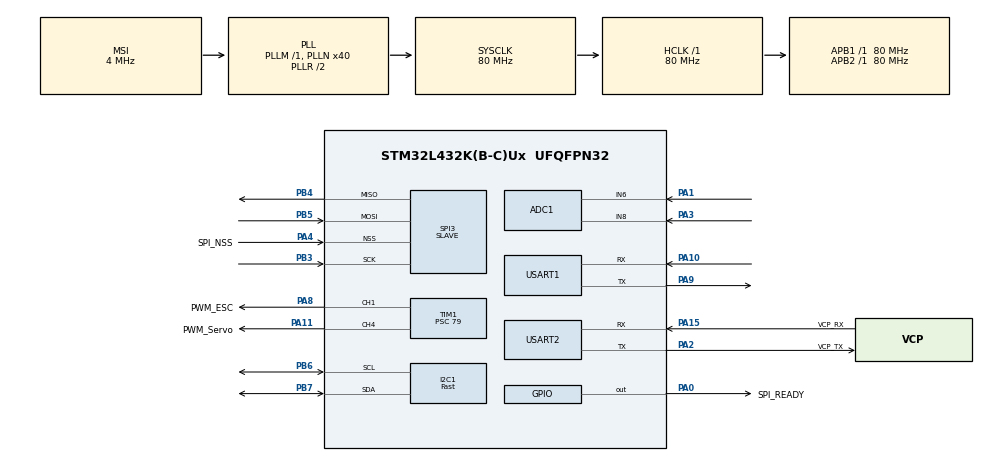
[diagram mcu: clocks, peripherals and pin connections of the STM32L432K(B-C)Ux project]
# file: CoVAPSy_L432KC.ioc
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ADC1.Channel-5\#ChannelRegularConversion=ADC_CHANNEL_8
ADC1.Channel-6\#ChannelRegularConversion=ADC_CHANNEL_6
ADC1.ClockPrescaler=ADC_CLOCK_ASYNC_DIV4
ADC1.ContinuousConvMode=ENABLE
ADC1.DMAContinuousRequests=ENABLE
ADC1.EOCSelection=ADC_EOC_SEQ_CONV
ADC1.NbrOfConversion=2
ADC1.NbrOfConversionFlag=1
ADC1.OffsetNumber-5\#ChannelRegularConversion=ADC_OFFSET_NONE
ADC1.OffsetNumber-6\#ChannelRegularConversion=ADC_OFFSET_NONE
ADC1.Overrun=ADC_OVR_DATA_OVERWRITTEN
ADC1.Rank-5\#ChannelRegularConversion=1
ADC1.Rank-6\#ChannelRegularConversion=2
ADC1.SamplingTime-5\#ChannelRegularConversion=ADC_SAMPLETIME_47CYCLES_5
ADC1.SamplingTime-6\#ChannelRegularConversion=ADC_SAMPLETIME_47CYCLES_5
ADC1.master=1
Dma.ADC1.0.Direction=DMA_PERIPH_TO_MEMORY
Dma.ADC1.0.Instance=DMA1_Channel1
Dma.ADC1.0.MemDataAlignment=DMA_MDATAALIGN_HALFWORD
Dma.ADC1.0.MemInc=DMA_MINC_ENABLE
Dma.ADC1.0.Mode=DMA_CIRCULAR
Dma.ADC1.0.PeriphDataAlignment=DMA_PDATAALIGN_HALFWORD
Dma.ADC1.0.PeriphInc=DMA_PINC_DISABLE
Dma.ADC1.0.Priority=DMA_PRIORITY_MEDIUM
Dma.Request0=ADC1
Dma.Request1=SPI3_RX
Dma.Request2=SPI3_TX
Dma.SPI3_RX.1.Direction=DMA_PERIPH_TO_MEMORY
Dma.SPI3_RX.1.Instance=DMA2_Channel1
Dma.SPI3_RX.1.MemDataAlignment=DMA_MDATAALIGN_BYTE
Dma.SPI3_RX.1.MemInc=DMA_MINC_ENABLE
Dma.SPI3_RX.1.Mode=DMA_NORMAL
Dma.SPI3_RX.1.PeriphDataAlignment=DMA_PDATAALIGN_BYTE
Dma.SPI3_RX.1.PeriphInc=DMA_PINC_DISABLE
Dma.SPI3_RX.1.Priority=DMA_PRIORITY_HIGH
Dma.SPI3_TX.2.Direction=DMA_MEMORY_TO_PERIPH
Dma.SPI3_TX.2.Instance=DMA2_Channel2
Dma.SPI3_TX.2.MemDataAlignment=DMA_MDATAALIGN_BYTE
Dma.SPI3_TX.2.MemInc=DMA_MINC_ENABLE
Dma.SPI3_TX.2.Mode=DMA_NORMAL
Dma.SPI3_TX.2.PeriphDataAlignment=DMA_PDATAALIGN_BYTE
Dma.SPI3_TX.2.PeriphInc=DMA_PINC_DISABLE
Dma.SPI3_TX.2.Priority=DMA_PRIORITY_HIGH
FREERTOS.Tasks01=defaultTask,24,128,StartDefaultTask,Default,NULL,Dynamic,NULL,NULL;ControlTask,43,512,StartControlTask,Default,NULL,Dynamic,NULL,NULL;DebugTask,9,256,StartDebugTask,Default,NULL,Dynamic,NULL,NULL;SPICommTask,42,512,StartSPICommTask,Default,NULL,Dynamic,NULL,NULL
FREERTOS.configTOTAL_HEAP_SIZE=15360
FREERTOS.configUSE_NEWLIB_REENTRANT=1
I2C1.I2C_Speed_Mode=I2C_Fast
I2C1.Timing=0x00F12981
Mcu.Family=STM32L4
Mcu.Name=STM32L432K(B-C)Ux
Mcu.Package=UFQFPN32
NVIC.ADC1_IRQn=true\:5\:0\:false\:false\:true\:true\:true\:true\:true
NVIC.DMA1_Channel1_IRQn=true\:5\:0\:false\:false\:true\:true\:false\:true\:true
NVIC.DMA2_Channel1_IRQn=true\:5\:0\:false\:false\:true\:true\:false\:true\:true
NVIC.DMA2_Channel2_IRQn=true\:5\:0\:false\:false\:true\:true\:false\:true\:true
NVIC.EXTI4_IRQn=true\:5\:0\:false\:false\:true\:true\:true\:true\:true
NVIC.PriorityGroup=NVIC_PRIORITYGROUP_4
NVIC.TIM6_DAC_IRQn=true\:15\:0\:false\:false\:true\:false\:false\:true\:true
NVIC.TimeBase=TIM6_DAC_IRQn
NVIC.TimeBaseIP=TIM6
NVIC.USART1_IRQn=true\:5\:0\:false\:false\:true\:true\:true\:true\:true
PA0.GPIO_Label=SPI_READY
PA0.Signal=GPIO_Output
PA1.Signal=ADCx_IN6
PA10.Mode=Asynchronous
PA10.Signal=USART1_RX
PA11.GPIO_Label=PWM_Servo
PA11.Signal=S_TIM1_CH4
PA13\ (JTMS-SWDIO).GPIO_Label=SWDIO
PA13\ (JTMS-SWDIO).Signal=SYS_JTMS-SWDIO
PA14\ (JTCK-SWCLK).GPIO_Label=SWCLK
PA14\ (JTCK-SWCLK).Signal=SYS_JTCK-SWCLK
PA15\ (JTDI).GPIO_Label=VCP_RX
PA15\ (JTDI).Mode=Asynchronous
PA15\ (JTDI).Signal=USART2_RX
PA2.GPIO_Label=VCP_TX
PA2.Mode=Asynchronous
PA2.Signal=USART2_TX
PA3.Signal=ADCx_IN8
PA4.GPIO_Label=SPI_NSS
PA4.Mode=NSS_Signal_Hard_Input
PA4.Signal=SPI3_NSS
PA8.GPIO_Label=PWM_ESC
PA8.Signal=S_TIM1_CH1
PA9.Mode=Asynchronous
PA9.Signal=USART1_TX
PB3\ (JTDO-TRACESWO).Mode=Full_Duplex_Slave
PB3\ (JTDO-TRACESWO).Signal=SPI3_SCK
PB4\ (NJTRST).Mode=Full_Duplex_Slave
PB4\ (NJTRST).Signal=SPI3_MISO
PB5.Mode=Full_Duplex_Slave
PB5.Signal=SPI3_MOSI
PB6.Mode=I2C
PB6.Signal=I2C1_SCL
PB7.Mode=I2C
PB7.Signal=I2C1_SDA
PC14-OSC32_IN\ (PC14).Signal=RCC_OSC32_IN
PC15-OSC32_OUT\ (PC15).Signal=RCC_OSC32_OUT
ProjectManager.HeapSize=0x200
ProjectManager.StackSize=0x400
ProjectManager.TargetToolchain=STM32CubeIDE
RCC.ADCFreq_Value=32000000
RCC.AHBFreq_Value=80000000
RCC.APB1Freq_Value=80000000
RCC.APB1TimFreq_Value=80000000
RCC.APB2Freq_Value=80000000
RCC.APB2TimFreq_Value=80000000
RCC.CortexFreq_Value=80000000
RCC.HCLKFreq_Value=80000000
RCC.HSE_VALUE=8000000
RCC.HSI16_VALUE=16000000
RCC.HSI48_VALUE=48000000
RCC.HSI_VALUE=16000000
RCC.LSE_VALUE=32768
RCC.MSI_VALUE=4000000
RCC.PLLMUL=RCC_PLLMUL_4
RCC.PLLN=40
RCC.PLLSAI1N=16
RCC.SYSCLKFreq_VALUE=80000000
RCC.SYSCLKSource=RCC_SYSCLKSOURCE_PLLCLK
RCC.USBFreq_Value=32000000
RCC.VCOOutputFreq_Value=160000000
SH.ADCx_IN6.0=ADC1_IN6,IN6-Single-Ended
SH.ADCx_IN8.0=ADC1_IN8,IN8-Single-Ended
SH.S_TIM1_CH1.0=TIM1_CH1,PWM Generation1 CH1
SH.S_TIM1_CH4.0=TIM1_CH4,PWM Generation4 CH4
SPI3.DataSize=SPI_DATASIZE_8BIT
SPI3.Direction=SPI_DIRECTION_2LINES
SPI3.Mode=SPI_MODE_SLAVE
SPI3.VirtualNSS=VM_NSSHARD
SPI3.VirtualType=VM_SLAVE
TIM1.AutoReloadPreload=TIM_AUTORELOAD_PRELOAD_ENABLE
TIM1.Channel-PWM\ Generation1\ CH1=TIM_CHANNEL_1
TIM1.Channel-PWM\ Generation4\ CH4=TIM_CHANNEL_4
TIM1.Period=19999
TIM1.Prescaler=79
TIM1.Pulse-PWM\ Generation1\ CH1=1500
TIM1.Pulse-PWM\ Generation4\ CH4=1500
USART1.VirtualMode-Asynchronous=VM_ASYNC
USART2.VirtualMode-Asynchronous=VM_ASYNC
VP_FREERTOS_VS_CMSIS_V2.Mode=CMSIS_V2
VP_SYS_VS_tim6.Mode=TIM6
board=NUCLEO-L432KC

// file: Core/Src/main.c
/* USER CODE BEGIN Header */
/**
  ******************************************************************************
  * @file           : main.c
  * @brief          : Main program body
  ******************************************************************************
  * @attention
  *
  * Copyright (c) 2025 STMicroelectronics.
  * All rights reserved.
  *
  * This software is licensed under terms that can be found in the LICENSE file
  * in the root directory of this software component.
  * If no LICENSE file comes with this software, it is provided AS-IS.
  *
  ******************************************************************************
  */
/* USER CODE END Header */
#include "main.h"
#include "cmsis_os.h"

/* USER CODE BEGIN Includes */
#include <string.h>
#include <stdio.h>
#include "config.h"
#include "mma8451.h"
#include "sharp_sensor.h"
#include "bno055.h"
#include "servo.h"
#include "esc.h"
#include "vehicle_state.h"
#include "spi_comm.h"
#include "cmsis_os.h"
#include "task.h"
/* USER CODE END Includes */

ADC_HandleTypeDef hadc1;
DMA_HandleTypeDef hdma_adc1;

I2C_HandleTypeDef hi2c1;

SPI_HandleTypeDef hspi3;
DMA_HandleTypeDef hdma_spi3_rx;
DMA_HandleTypeDef hdma_spi3_tx;

TIM_HandleTypeDef htim1;

UART_HandleTypeDef huart1;
UART_HandleTypeDef huart2;

/* Definitions for defaultTask */
osThreadId_t defaultTaskHandle;
const osThreadAttr_t defaultTask_attributes = {
  .name = "defaultTask",
  .stack_size = 128 * 4,
  .priority = (osPriority_t) osPriorityNormal,
};
/* Definitions for ControlTask */
osThreadId_t ControlTaskHandle;
const osThreadAttr_t ControlTask_attributes = {
  .name = "ControlTask",
  .stack_size = 512 * 4,
  .priority = (osPriority_t) osPriorityHigh3,
};
/* Definitions for DebugTask */
osThreadId_t DebugTaskHandle;
const osThreadAttr_t DebugTask_attributes = {
  .name = "DebugTask",
  .stack_size = 256 * 4,
  .priority = (osPriority_t) osPriorityLow1,
};
/* Definitions for SPICommTask */
osThreadId_t SPICommTaskHandle;
const osThreadAttr_t SPICommTask_attributes = {
  .name = "SPICommTask",
  .stack_size = 512 * 4,
  .priority = (osPriority_t) osPriorityHigh2,
};
/* USER CODE BEGIN PV */
Vehicle_State g_vehicle;
SPI_Comm_State g_spi_comm;
static uint16_t g_sharp_dma_buf[2];
/* USER CODE END PV */

void SystemClock_Config(void);
static void MX_GPIO_Init(void);
static void MX_DMA_Init(void);
static void MX_TIM1_Init(void);
static void MX_USART1_UART_Init(void);
static void MX_ADC1_Init(void);
static void MX_I2C1_Init(void);
static void MX_USART2_UART_Init(void);
static void MX_SPI3_Init(void);
void StartDefaultTask(void *argument);
void StartControlTask(void *argument);
void StartDebugTask(void *argument);
void StartSPICommTask(void *argument);

int main(void)
{

  /* MCU Configuration--------------------------------------------------------*/

  /* Reset of all peripherals, Initializes the Flash interface and the Systick. */
  HAL_Init();

  /* Configure the system clock */
  SystemClock_Config();

  /* Initialize all configured peripherals */
  MX_GPIO_Init();
  MX_DMA_Init();
  MX_TIM1_Init();
  MX_USART1_UART_Init();
  MX_ADC1_Init();
  MX_I2C1_Init();
  MX_USART2_UART_Init();
  MX_SPI3_Init();
  /* USER CODE BEGIN 2 */
#if defined(MMA8451_ENABLE) && defined(MMA8451_TEST_ENABLE) && MMA8451_ENABLE && MMA8451_TEST_ENABLE
  // Start MMA8451 accelerometer test program
  MMA8451_Test(&hi2c1, &huart2, LD3_GPIO_Port, LD3_Pin);
#endif

#if defined(SHARP_SENSOR_ENABLE) && defined(SHARP_TEST_ENABLE) && SHARP_SENSOR_ENABLE && SHARP_TEST_ENABLE
  // Start SHARP distance sensor test program
  Sharp_Test(&hadc1, &huart2);
#endif

#if defined(BNO055_ENABLE) && defined(BNO055_TEST_ENABLE) && BNO055_ENABLE && BNO055_TEST_ENABLE
  // Start BNO055 IMU test program
  BNO055_Test(&hi2c1, &huart2);
#endif

#if defined(SERVO_ENABLE) && defined(SERVO_TEST_ENABLE) && SERVO_ENABLE && SERVO_TEST_ENABLE
  // Start Servo test program
  Servo_Test(&htim1, &huart2);
#endif

#if defined(ESC_ENABLE) && defined(ESC_TEST_ENABLE) && ESC_ENABLE && ESC_TEST_ENABLE
  // Start ESC test program
  ESC_Test(&htim1, &huart2);
#endif

#if defined(SPI_COMM_ENABLE) && defined(SPI_COMM_TEST_ENABLE) && SPI_COMM_ENABLE && SPI_COMM_TEST_ENABLE
  // Start SPI communication test program (Phase 2 UART simulation mode, protocol-only)
  SPI_Comm_Test(&hspi3, &huart2);
#endif

#if defined(SPI_COMM_ENABLE) && defined(SPI_VEHICLE_TEST_ENABLE) && SPI_COMM_ENABLE && SPI_VEHICLE_TEST_ENABLE
  // Start SPI + Vehicle integration test (UART commands control real vehicle)
  // This simulates Raspberry Pi SPI commands via UART
  SPI_Vehicle_IntegrationTest(&htim1, &hi2c1, &hadc1, &huart2);
#endif

#if defined(VEHICLE_ENABLE) && defined(VEHICLE_TEST_ENABLE) && VEHICLE_ENABLE && VEHICLE_TEST_ENABLE
  // Start Vehicle test program (Phase 1 whole vehicle testing)
  Vehicle_Test(&htim1, &hi2c1, &hadc1, &huart2);
#endif

#if defined(SPI_COMM_ENABLE) && defined(SPI_HARDWARE_DEBUG_ENABLE) && SPI_COMM_ENABLE && SPI_HARDWARE_DEBUG_ENABLE
  // SPI Hardware Debug Mode: Real SPI communication with UART debug output
  // Connects to Raspberry Pi via SPI3, prints received commands to UART
  SPI_Hardware_Debug(&hspi3, &htim1, &hi2c1, &hadc1, &huart2);
#endif

#if defined(SPI_COMM_ENABLE) && defined(SPI_PRODUCTION_ENABLE) && SPI_COMM_ENABLE && SPI_PRODUCTION_ENABLE
  // SPI Production Mode: Real SPI communication, NO debug output
  // Use this for final deployment with Raspberry Pi
  SPI_Production(&hspi3, &htim1, &hi2c1, &hadc1);
#endif

  // === FreeRTOS 模式初始化 ===
  // 1. 绑定硬件句柄
  g_vehicle.htim_servo_esc      = &htim1;
  g_vehicle.hi2c_imu            = &hi2c1;
  g_vehicle.hadc_sharp          = &hadc1;
  g_vehicle.huart_debug         = &huart2;
  g_vehicle.sharp_dma_buffer      = g_sharp_dma_buf;
  g_vehicle.sharp_dma_buffer_size = 2;

  // 2. 初始化车辆（舵机、电调、BNO055、SHARP）
  Vehicle_Init(&g_vehicle);

  // 3. 绑定 SPI 通信句柄
  g_spi_comm.hspi        = &hspi3;
  g_spi_comm.huart_debug = &huart2;
  g_spi_comm.vehicle     = &g_vehicle;

  // 4. 初始化 SPI 通信模块
  if (SPI_Comm_Init(&g_spi_comm) != HAL_OK)
  {
    Error_Handler();
  }

  // 5. 电调解锁（发送 2 秒中性脉冲，必须在调度器启动前完成）
  ESC_Arm(&htim1, &g_vehicle.esc_data, &huart2);

  // 6. 设置为远程控制模式
  Vehicle_SetMode(&g_vehicle, VEHICLE_MODE_REMOTE);

  /* USER CODE END 2 */

  /* Init scheduler */
  osKernelInitialize();

  /* Create the thread(s) */
  /* creation of defaultTask */
  defaultTaskHandle = osThreadNew(StartDefaultTask, NULL, &defaultTask_attributes);

  /* creation of ControlTask */
  ControlTaskHandle = osThreadNew(StartControlTask, NULL, &ControlTask_attributes);

  /* creation of DebugTask */
  DebugTaskHandle = osThreadNew(StartDebugTask, NULL, &DebugTask_attributes);

  /* creation of SPICommTask */
  SPICommTaskHandle = osThreadNew(StartSPICommTask, NULL, &SPICommTask_attributes);

  /* Start scheduler */
  osKernelStart();

  /* We should never get here as control is now taken by the scheduler */

  /* Infinite loop */
  while (1)
  {

  }
}

void SystemClock_Config(void)
{
  RCC_OscInitTypeDef RCC_OscInitStruct = {0};
  RCC_ClkInitTypeDef RCC_ClkInitStruct = {0};

  /** Configure the main internal regulator output voltage
  */
  if (HAL_PWREx_ControlVoltageScaling(PWR_REGULATOR_VOLTAGE_SCALE1) != HAL_OK)
  {
    Error_Handler();
  }

  /** Initializes the RCC Oscillators according to the specified parameters
  * in the RCC_OscInitTypeDef structure.
  */
  RCC_OscInitStruct.OscillatorType = RCC_OSCILLATORTYPE_MSI;
  RCC_OscInitStruct.MSIState = RCC_MSI_ON;
  RCC_OscInitStruct.MSICalibrationValue = 0;
  RCC_OscInitStruct.MSIClockRange = RCC_MSIRANGE_6;
  RCC_OscInitStruct.PLL.PLLState = RCC_PLL_ON;
  RCC_OscInitStruct.PLL.PLLSource = RCC_PLLSOURCE_MSI;
  RCC_OscInitStruct.PLL.PLLM = 1;
  RCC_OscInitStruct.PLL.PLLN = 40;
  RCC_OscInitStruct.PLL.PLLP = RCC_PLLP_DIV7;
  RCC_OscInitStruct.PLL.PLLQ = RCC_PLLQ_DIV2;
  RCC_OscInitStruct.PLL.PLLR = RCC_PLLR_DIV2;
  if (HAL_RCC_OscConfig(&RCC_OscInitStruct) != HAL_OK)
  {
    Error_Handler();
  }

  /** Initializes the CPU, AHB and APB buses clocks
  */
  RCC_ClkInitStruct.ClockType = RCC_CLOCKTYPE_HCLK|RCC_CLOCKTYPE_SYSCLK
                              |RCC_CLOCKTYPE_PCLK1|RCC_CLOCKTYPE_PCLK2;
  RCC_ClkInitStruct.SYSCLKSource = RCC_SYSCLKSOURCE_PLLCLK;
  RCC_ClkInitStruct.AHBCLKDivider = RCC_SYSCLK_DIV1;
  RCC_ClkInitStruct.APB1CLKDivider = RCC_HCLK_DIV1;
  RCC_ClkInitStruct.APB2CLKDivider = RCC_HCLK_DIV1;

  if (HAL_RCC_ClockConfig(&RCC_ClkInitStruct, FLASH_LATENCY_4) != HAL_OK)
  {
    Error_Handler();
  }
}

static void MX_ADC1_Init(void)
{

  ADC_ChannelConfTypeDef sConfig = {0};

  /** Common config
  */
  hadc1.Instance = ADC1;
  hadc1.Init.ClockPrescaler = ADC_CLOCK_ASYNC_DIV4;
  hadc1.Init.Resolution = ADC_RESOLUTION_12B;
  hadc1.Init.DataAlign = ADC_DATAALIGN_RIGHT;
  hadc1.Init.ScanConvMode = ADC_SCAN_ENABLE;
  hadc1.Init.EOCSelection = ADC_EOC_SEQ_CONV;
  hadc1.Init.LowPowerAutoWait = DISABLE;
  hadc1.Init.ContinuousConvMode = ENABLE;
  hadc1.Init.NbrOfConversion = 2;
  hadc1.Init.DiscontinuousConvMode = DISABLE;
  hadc1.Init.ExternalTrigConv = ADC_SOFTWARE_START;
  hadc1.Init.ExternalTrigConvEdge = ADC_EXTERNALTRIGCONVEDGE_NONE;
  hadc1.Init.DMAContinuousRequests = ENABLE;
  hadc1.Init.Overrun = ADC_OVR_DATA_OVERWRITTEN;
  hadc1.Init.OversamplingMode = DISABLE;
  if (HAL_ADC_Init(&hadc1) != HAL_OK)
  {
    Error_Handler();
  }

  /** Configure Regular Channel
  */
  sConfig.Channel = ADC_CHANNEL_8;
  sConfig.Rank = ADC_REGULAR_RANK_1;
  sConfig.SamplingTime = ADC_SAMPLETIME_47CYCLES_5;
  sConfig.SingleDiff = ADC_SINGLE_ENDED;
  sConfig.OffsetNumber = ADC_OFFSET_NONE;
  sConfig.Offset = 0;
  if (HAL_ADC_ConfigChannel(&hadc1, &sConfig) != HAL_OK)
  {
    Error_Handler();
  }

  /** Configure Regular Channel
  */
  sConfig.Channel = ADC_CHANNEL_6;
  sConfig.Rank = ADC_REGULAR_RANK_2;
  if (HAL_ADC_ConfigChannel(&hadc1, &sConfig) != HAL_OK)
  {
    Error_Handler();
  }

}

static void MX_I2C1_Init(void)
{

  hi2c1.Instance = I2C1;
  hi2c1.Init.Timing = 0x00F12981;
  hi2c1.Init.OwnAddress1 = 0;
  hi2c1.Init.AddressingMode = I2C_ADDRESSINGMODE_7BIT;
  hi2c1.Init.DualAddressMode = I2C_DUALADDRESS_DISABLE;
  hi2c1.Init.OwnAddress2 = 0;
  hi2c1.Init.OwnAddress2Masks = I2C_OA2_NOMASK;
  hi2c1.Init.GeneralCallMode = I2C_GENERALCALL_DISABLE;
  hi2c1.Init.NoStretchMode = I2C_NOSTRETCH_DISABLE;
  if (HAL_I2C_Init(&hi2c1) != HAL_OK)
  {
    Error_Handler();
  }

  /** Configure Analogue filter
  */
  if (HAL_I2CEx_ConfigAnalogFilter(&hi2c1, I2C_ANALOGFILTER_ENABLE) != HAL_OK)
  {
    Error_Handler();
  }

  /** Configure Digital filter
  */
  if (HAL_I2CEx_ConfigDigitalFilter(&hi2c1, 0) != HAL_OK)
  {
    Error_Handler();
  }

}

static void MX_SPI3_Init(void)
{

  /* SPI3 parameter configuration*/
  hspi3.Instance = SPI3;
  hspi3.Init.Mode = SPI_MODE_SLAVE;
  hspi3.Init.Direction = SPI_DIRECTION_2LINES;
  hspi3.Init.DataSize = SPI_DATASIZE_8BIT;
  hspi3.Init.CLKPolarity = SPI_POLARITY_LOW;
  hspi3.Init.CLKPhase = SPI_PHASE_1EDGE;
  hspi3.Init.NSS = SPI_NSS_HARD_INPUT;
  hspi3.Init.FirstBit = SPI_FIRSTBIT_MSB;
  hspi3.Init.TIMode = SPI_TIMODE_DISABLE;
  hspi3.Init.CRCCalculation = SPI_CRCCALCULATION_DISABLE;
  hspi3.Init.CRCPolynomial = 7;
  hspi3.Init.CRCLength = SPI_CRC_LENGTH_DATASIZE;
  hspi3.Init.NSSPMode = SPI_NSS_PULSE_DISABLE;
  if (HAL_SPI_Init(&hspi3) != HAL_OK)
  {
    Error_Handler();
  }

}

static void MX_TIM1_Init(void)
{

  TIM_MasterConfigTypeDef sMasterConfig = {0};
  TIM_OC_InitTypeDef sConfigOC = {0};
  TIM_BreakDeadTimeConfigTypeDef sBreakDeadTimeConfig = {0};

  htim1.Instance = TIM1;
  htim1.Init.Prescaler = 79;
  htim1.Init.CounterMode = TIM_COUNTERMODE_UP;
  htim1.Init.Period = 19999;
  htim1.Init.ClockDivision = TIM_CLOCKDIVISION_DIV1;
  htim1.Init.RepetitionCounter = 0;
  htim1.Init.AutoReloadPreload = TIM_AUTORELOAD_PRELOAD_ENABLE;
  if (HAL_TIM_PWM_Init(&htim1) != HAL_OK)
  {
    Error_Handler();
  }
  sMasterConfig.MasterOutputTrigger = TIM_TRGO_RESET;
  sMasterConfig.MasterOutputTrigger2 = TIM_TRGO2_RESET;
  sMasterConfig.MasterSlaveMode = TIM_MASTERSLAVEMODE_DISABLE;
  if (HAL_TIMEx_MasterConfigSynchronization(&htim1, &sMasterConfig) != HAL_OK)
  {
    Error_Handler();
  }
  sConfigOC.OCMode = TIM_OCMODE_PWM1;
  sConfigOC.Pulse = 1500;
  sConfigOC.OCPolarity = TIM_OCPOLARITY_HIGH;
  sConfigOC.OCNPolarity = TIM_OCNPOLARITY_HIGH;
  sConfigOC.OCFastMode = TIM_OCFAST_DISABLE;
  sConfigOC.OCIdleState = TIM_OCIDLESTATE_RESET;
  sConfigOC.OCNIdleState = TIM_OCNIDLESTATE_RESET;
  if (HAL_TIM_PWM_ConfigChannel(&htim1, &sConfigOC, TIM_CHANNEL_1) != HAL_OK)
  {
    Error_Handler();
  }
  if (HAL_TIM_PWM_ConfigChannel(&htim1, &sConfigOC, TIM_CHANNEL_4) != HAL_OK)
  {
    Error_Handler();
  }
  sBreakDeadTimeConfig.OffStateRunMode = TIM_OSSR_DISABLE;
  sBreakDeadTimeConfig.OffStateIDLEMode = TIM_OSSI_DISABLE;
  sBreakDeadTimeConfig.LockLevel = TIM_LOCKLEVEL_OFF;
  sBreakDeadTimeConfig.DeadTime = 0;
  sBreakDeadTimeConfig.BreakState = TIM_BREAK_DISABLE;
  sBreakDeadTimeConfig.BreakPolarity = TIM_BREAKPOLARITY_HIGH;
  sBreakDeadTimeConfig.BreakFilter = 0;
  sBreakDeadTimeConfig.Break2State = TIM_BREAK2_DISABLE;
  sBreakDeadTimeConfig.Break2Polarity = TIM_BREAK2POLARITY_HIGH;
  sBreakDeadTimeConfig.Break2Filter = 0;
  sBreakDeadTimeConfig.AutomaticOutput = TIM_AUTOMATICOUTPUT_DISABLE;
  if (HAL_TIMEx_ConfigBreakDeadTime(&htim1, &sBreakDeadTimeConfig) != HAL_OK)
  {
    Error_Handler();
  }
  HAL_TIM_MspPostInit(&htim1);

}

static void MX_USART1_UART_Init(void)
{

  huart1.Instance = USART1;
  huart1.Init.BaudRate = 115200;
  huart1.Init.WordLength = UART_WORDLENGTH_8B;
  huart1.Init.StopBits = UART_STOPBITS_1;
  huart1.Init.Parity = UART_PARITY_NONE;
  huart1.Init.Mode = UART_MODE_TX_RX;
  huart1.Init.HwFlowCtl = UART_HWCONTROL_NONE;
  huart1.Init.OverSampling = UART_OVERSAMPLING_16;
  huart1.Init.OneBitSampling = UART_ONE_BIT_SAMPLE_DISABLE;
  huart1.AdvancedInit.AdvFeatureInit = UART_ADVFEATURE_NO_INIT;
  if (HAL_UART_Init(&huart1) != HAL_OK)
  {
    Error_Handler();
  }

}

static void MX_USART2_UART_Init(void)
{

  huart2.Instance = USART2;
  huart2.Init.BaudRate = 115200;
  huart2.Init.WordLength = UART_WORDLENGTH_8B;
  huart2.Init.StopBits = UART_STOPBITS_1;
  huart2.Init.Parity = UART_PARITY_NONE;
  huart2.Init.Mode = UART_MODE_TX_RX;
  huart2.Init.HwFlowCtl = UART_HWCONTROL_NONE;
  huart2.Init.OverSampling = UART_OVERSAMPLING_16;
  huart2.Init.OneBitSampling = UART_ONE_BIT_SAMPLE_DISABLE;
  huart2.AdvancedInit.AdvFeatureInit = UART_ADVFEATURE_NO_INIT;
  if (HAL_UART_Init(&huart2) != HAL_OK)
  {
    Error_Handler();
  }

}

static void MX_DMA_Init(void)
{

  /* DMA controller clock enable */
  __HAL_RCC_DMA1_CLK_ENABLE();
  __HAL_RCC_DMA2_CLK_ENABLE();

  /* DMA interrupt init */
  /* DMA1_Channel1_IRQn interrupt configuration */
  HAL_NVIC_SetPriority(DMA1_Channel1_IRQn, 5, 0);
  HAL_NVIC_EnableIRQ(DMA1_Channel1_IRQn);
  /* DMA2_Channel1_IRQn interrupt configuration */
  HAL_NVIC_SetPriority(DMA2_Channel1_IRQn, 5, 0);
  HAL_NVIC_EnableIRQ(DMA2_Channel1_IRQn);
  /* DMA2_Channel2_IRQn interrupt configuration */
  HAL_NVIC_SetPriority(DMA2_Channel2_IRQn, 5, 0);
  HAL_NVIC_EnableIRQ(DMA2_Channel2_IRQn);

}

static void MX_GPIO_Init(void)
{
  GPIO_InitTypeDef GPIO_InitStruct = {0};

  /* GPIO Ports Clock Enable */
  __HAL_RCC_GPIOC_CLK_ENABLE();
  __HAL_RCC_GPIOA_CLK_ENABLE();
  __HAL_RCC_GPIOB_CLK_ENABLE();

/* USER CODE BEGIN MX_GPIO_Init_2 */
  HAL_GPIO_WritePin(SPI_READY_GPIO_Port, SPI_READY_Pin, GPIO_PIN_RESET);

  GPIO_InitStruct.Pin = SPI_READY_Pin;
  GPIO_InitStruct.Mode = GPIO_MODE_OUTPUT_PP;
  GPIO_InitStruct.Pull = GPIO_PULLDOWN;
  GPIO_InitStruct.Speed = GPIO_SPEED_FREQ_HIGH;
  HAL_GPIO_Init(SPI_READY_GPIO_Port, &GPIO_InitStruct);

  /* PA4 remains SPI3_NSS alternate function; EXTI observes both NSS edges. */
  __HAL_RCC_SYSCFG_CLK_ENABLE();
  SYSCFG->EXTICR[1] &= ~SYSCFG_EXTICR2_EXTI4;
  EXTI->IMR1 |= EXTI_IMR1_IM4;
  EXTI->RTSR1 |= EXTI_RTSR1_RT4;
  EXTI->FTSR1 |= EXTI_FTSR1_FT4;
  __HAL_GPIO_EXTI_CLEAR_IT(SPI_NSS_Pin);
  HAL_NVIC_SetPriority(EXTI4_IRQn, 5, 0);
  HAL_NVIC_EnableIRQ(EXTI4_IRQn);
/* USER CODE END MX_GPIO_Init_2 */
}

/* USER CODE BEGIN 4 */

void vApplicationStackOverflowHook(TaskHandle_t xTask, char *pcTaskName)
{
    char msg[64];
    snprintf(msg, sizeof(msg), "[FATAL] Stack overflow: %s\r\n", pcTaskName);
    HAL_UART_Transmit(&huart2, (uint8_t*)msg, strlen(msg), 100);
    while(1);
}

void vApplicationMallocFailedHook(void)
{
    char msg[] = "[FATAL] FreeRTOS malloc failed!\r\n";
    HAL_UART_Transmit(&huart2, (uint8_t*)msg, strlen(msg), 100);
    while(1);
}
/* USER CODE END 4 */

void StartDefaultTask(void *argument)
{
  for(;;)
  {
    osDelay(1);
  }
}

void StartControlTask(void *argument)
{
  /* USER CODE BEGIN StartControlTask */
	uint32_t tick = osKernelGetTickCount();

	    for(;;)
	    {
	      tick += 20;  // 先算好下一次唤醒的绝对时刻

	      // 1. 仅由控制任务执行来自SPI的车辆命令
	      SPI_Comm_UpdateVehicleControl(&g_spi_comm, &g_vehicle);

	      // 2. 更新传感器数据
	      Vehicle_UpdateSensors(&g_vehicle);

	      // 3. 执行控制循环
	      Vehicle_ControlLoop(&g_vehicle);

	      // 4. 发布一致的遥测快照供SPI任务读取
	      SPI_Comm_PublishTelemetry(&g_spi_comm, &g_vehicle);

	      // 5. 等待到绝对时刻 tick（自动补偿执行时间）
	      osDelayUntil(tick);
	    }
  /* USER CODE END StartControlTask */
}

void StartSPICommTask(void *argument)
{
  (void)argument;

  while (SPI_Comm_Start(&g_spi_comm) != HAL_OK)
  {
    osDelay(10);
  }

  for (;;)
  {
    (void)ulTaskNotifyTake(pdTRUE, portMAX_DELAY);

    HAL_StatusTypeDef status = SPI_Comm_Service(&g_spi_comm);
    if (status != HAL_OK && status != HAL_BUSY)
    {
      while (SPI_Comm_Start(&g_spi_comm) != HAL_OK)
      {
        osDelay(10);
      }
    }
  }
}

void StartDebugTask(void *argument)
{
  /* USER CODE BEGIN StartDebugTask */
  /* Infinite loop */
	for(;;)
	    {
	      Vehicle_PrintStatus(&g_vehicle);
	      osDelay(1000);
	    }
  /* USER CODE END StartDebugTask */
}

void HAL_TIM_PeriodElapsedCallback(TIM_HandleTypeDef *htim)
{
  if (htim->Instance == TIM6) {
    HAL_IncTick();
  }
}

void Error_Handler(void)
{
  __disable_irq();
  while (1)
  {
  }
}
